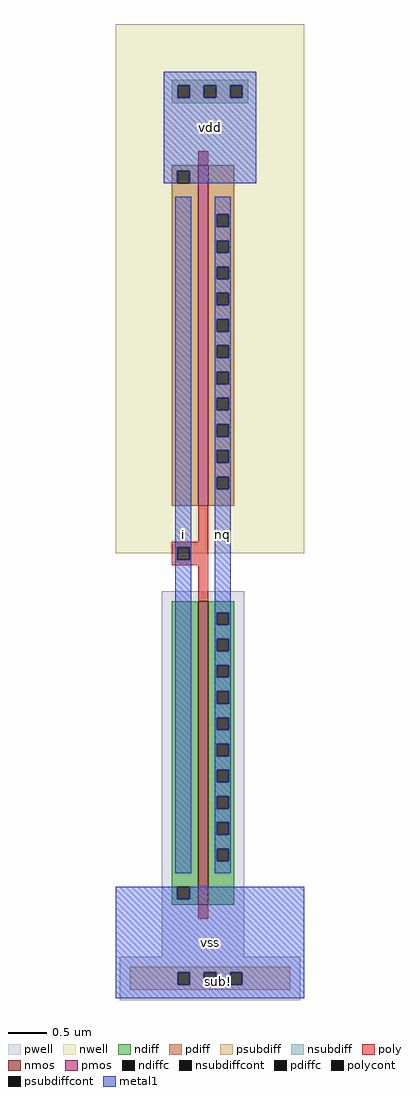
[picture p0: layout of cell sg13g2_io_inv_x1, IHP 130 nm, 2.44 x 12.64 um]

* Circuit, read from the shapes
.subckt sg13g2_io_inv_x1 vdd vss i nq
XM1 nq i vss vss sg13_lv_nmos w=3.93u l=0.13u
XM2 nq i vdd vdd sg13_lv_pmos w=4.41u l=0.13u
.ends

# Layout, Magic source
magic
tech ihp-sg13g2
magscale 1 2
<< nwell >>
rect -124 1152 364 2524
<< pwell >>
rect -5 107 209 1054
rect -114 -5 354 107
<< nmos >>
rect 89 242 115 1028
<< pmos >>
rect 89 1276 115 2158
<< ndiff >>
rect 21 288 89 1028
rect 21 256 35 288
rect 67 256 89 288
rect 21 242 89 256
rect 115 999 183 1028
rect 115 967 137 999
rect 169 967 183 999
rect 115 931 183 967
rect 115 899 137 931
rect 169 899 183 931
rect 115 863 183 899
rect 115 831 137 863
rect 169 831 183 863
rect 115 795 183 831
rect 115 763 137 795
rect 169 763 183 795
rect 115 727 183 763
rect 115 695 137 727
rect 169 695 183 727
rect 115 659 183 695
rect 115 627 137 659
rect 169 627 183 659
rect 115 591 183 627
rect 115 559 137 591
rect 169 559 183 591
rect 115 523 183 559
rect 115 491 137 523
rect 169 491 183 523
rect 115 455 183 491
rect 115 423 137 455
rect 169 423 183 455
rect 115 387 183 423
rect 115 355 137 387
rect 169 355 183 387
rect 115 242 183 355
<< pdiff >>
rect 21 2144 89 2158
rect 21 2112 35 2144
rect 67 2112 89 2144
rect 21 1276 89 2112
rect 115 2031 183 2158
rect 115 1999 137 2031
rect 169 1999 183 2031
rect 115 1963 183 1999
rect 115 1931 137 1963
rect 169 1931 183 1963
rect 115 1895 183 1931
rect 115 1863 137 1895
rect 169 1863 183 1895
rect 115 1827 183 1863
rect 115 1795 137 1827
rect 169 1795 183 1827
rect 115 1759 183 1795
rect 115 1727 137 1759
rect 169 1727 183 1759
rect 115 1691 183 1727
rect 115 1659 137 1691
rect 169 1659 183 1691
rect 115 1623 183 1659
rect 115 1591 137 1623
rect 169 1591 183 1623
rect 115 1555 183 1591
rect 115 1523 137 1555
rect 169 1523 183 1555
rect 115 1487 183 1523
rect 115 1455 137 1487
rect 169 1455 183 1487
rect 115 1419 183 1455
rect 115 1387 137 1419
rect 169 1387 183 1419
rect 115 1351 183 1387
rect 115 1319 137 1351
rect 169 1319 183 1351
rect 115 1276 183 1319
<< ndiffc >>
rect 35 256 67 288
rect 137 967 169 999
rect 137 899 169 931
rect 137 831 169 863
rect 137 763 169 795
rect 137 695 169 727
rect 137 627 169 659
rect 137 559 169 591
rect 137 491 169 523
rect 137 423 169 455
rect 137 355 169 387
<< pdiffc >>
rect 35 2112 67 2144
rect 137 1999 169 2031
rect 137 1931 169 1963
rect 137 1863 169 1895
rect 137 1795 169 1827
rect 137 1727 169 1759
rect 137 1659 169 1691
rect 137 1591 169 1623
rect 137 1523 169 1555
rect 137 1455 169 1487
rect 137 1387 169 1419
rect 137 1319 169 1351
<< psubdiff >>
rect -88 67 328 81
rect -88 35 36 67
rect 68 35 104 67
rect 136 35 172 67
rect 204 35 328 67
rect -88 21 328 35
<< nsubdiff >>
rect 21 2365 219 2379
rect 21 2333 36 2365
rect 68 2333 104 2365
rect 136 2333 172 2365
rect 204 2333 219 2365
rect 21 2319 219 2333
<< psubdiffcont >>
rect 36 35 68 67
rect 104 35 136 67
rect 172 35 204 67
<< nsubdiffcont >>
rect 36 2333 68 2365
rect 104 2333 136 2365
rect 172 2333 204 2365
<< poly >>
rect 89 2158 115 2194
rect 89 1182 115 1276
rect 21 1168 115 1182
rect 21 1136 35 1168
rect 67 1136 115 1168
rect 21 1122 115 1136
rect 89 1028 115 1122
rect 89 206 115 242
<< polycont >>
rect 35 1136 67 1168
<< metal1 >>
rect 0 2365 240 2400
rect 0 2333 36 2365
rect 68 2333 104 2365
rect 136 2333 172 2365
rect 204 2333 240 2365
rect 0 2144 240 2333
rect 0 2112 35 2144
rect 67 2112 240 2144
rect 30 1168 72 2076
rect 30 1136 35 1168
rect 67 1136 72 1168
rect 30 324 72 1136
rect 132 2031 174 2076
rect 132 1999 137 2031
rect 169 1999 174 2031
rect 132 1963 174 1999
rect 132 1931 137 1963
rect 169 1931 174 1963
rect 132 1895 174 1931
rect 132 1863 137 1895
rect 169 1863 174 1895
rect 132 1827 174 1863
rect 132 1795 137 1827
rect 169 1795 174 1827
rect 132 1759 174 1795
rect 132 1727 137 1759
rect 169 1727 174 1759
rect 132 1691 174 1727
rect 132 1659 137 1691
rect 169 1659 174 1691
rect 132 1623 174 1659
rect 132 1591 137 1623
rect 169 1591 174 1623
rect 132 1555 174 1591
rect 132 1523 137 1555
rect 169 1523 174 1555
rect 132 1487 174 1523
rect 132 1455 137 1487
rect 169 1455 174 1487
rect 132 1419 174 1455
rect 132 1387 137 1419
rect 169 1387 174 1419
rect 132 1351 174 1387
rect 132 1319 137 1351
rect 169 1319 174 1351
rect 132 999 174 1319
rect 132 967 137 999
rect 169 967 174 999
rect 132 931 174 967
rect 132 899 137 931
rect 169 899 174 931
rect 132 863 174 899
rect 132 831 137 863
rect 169 831 174 863
rect 132 795 174 831
rect 132 763 137 795
rect 169 763 174 795
rect 132 727 174 763
rect 132 695 137 727
rect 169 695 174 727
rect 132 659 174 695
rect 132 627 137 659
rect 169 627 174 659
rect 132 591 174 627
rect 132 559 137 591
rect 169 559 174 591
rect 132 523 174 559
rect 132 491 137 523
rect 169 491 174 523
rect 132 455 174 491
rect 132 423 137 455
rect 169 423 174 455
rect 132 387 174 423
rect 132 355 137 387
rect 169 355 174 387
rect 132 324 174 355
rect -124 256 35 288
rect 67 256 364 288
rect -124 67 364 256
rect -124 35 36 67
rect 68 35 104 67
rect 136 35 172 67
rect 204 35 364 67
rect -124 0 364 35
<< labels >>
flabel metal1 s 132 324 174 2076 0 FreeSans 800 0 0 0 nq
port 4 nsew
rlabel metal1 s 30 324 72 2076 4 i
port 3 nsew
rlabel metal1 s 0 2112 240 2400 4 vdd
port 1 nsew
rlabel metal1 s 0 0 240 288 4 vss
port 2 nsew
flabel comment s 142 44 142 44 0 FreeSans 1600 0 0 0 sub!
<< properties >>
string device primitive
string GDS_END 22679664
string GDS_FILE sg13g2_io.gds
string GDS_START 22676394
<< end >>
